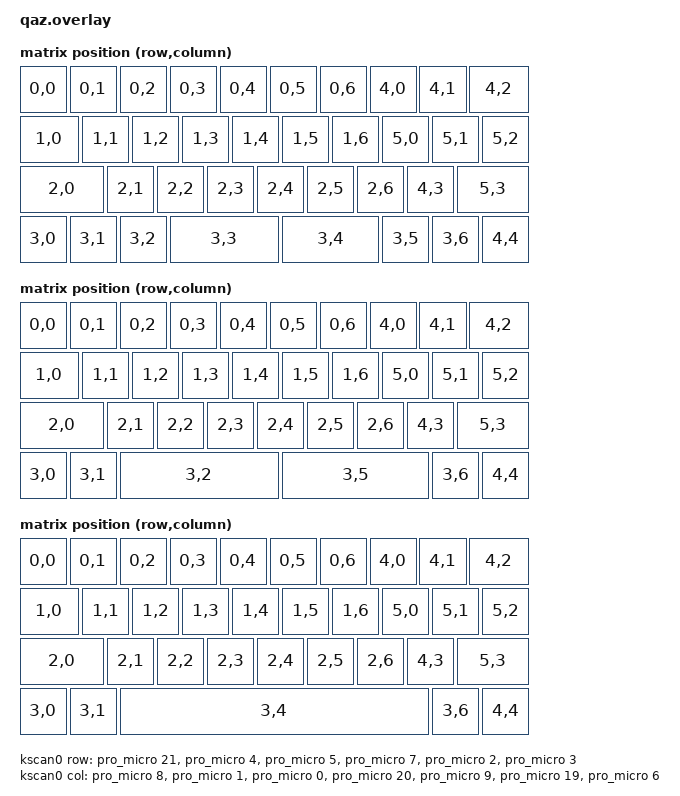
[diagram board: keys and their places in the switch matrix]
/*
 * Copyright (c) 2020 The ZMK Contributors
 *
 * SPDX-License-Identifier: MIT
 */

#include <dt-bindings/zmk/matrix_transform.h>
#include <physical_layouts.dtsi>

/ {
    chosen {
        zmk,kscan = &kscan0;
        zmk,physical-layout = &split_bar_layout;
    };

    split_bar_transform: split_bar_transform {
        compatible = "zmk,matrix-transform";
        columns = <7>;
        rows = <6>;
        map = <
    RC(0,0) RC(0,1) RC(0,2) RC(0,3) RC(0,4) RC(0,5) RC(0,6) RC(4,0) RC(4,1) RC(4,2)
    RC(1,0) RC(1,1) RC(1,2) RC(1,3) RC(1,4) RC(1,5) RC(1,6) RC(5,0) RC(5,1) RC(5,2)
    RC(2,0) RC(2,1) RC(2,2) RC(2,3) RC(2,4) RC(2,5) RC(2,6) RC(4,3) RC(5,3)
    RC(3,0) RC(3,1) RC(3,2) RC(3,3) RC(3,4) RC(3,5) RC(3,6) RC(4,4)
        >;
    };

    split_big_bar_transform: split_big_bar_transform {
        compatible = "zmk,matrix-transform";
        columns = <7>;
        rows = <6>;
        map = <
    RC(0,0) RC(0,1) RC(0,2) RC(0,3) RC(0,4) RC(0,5) RC(0,6) RC(4,0) RC(4,1) RC(4,2)
    RC(1,0) RC(1,1) RC(1,2) RC(1,3) RC(1,4) RC(1,5) RC(1,6) RC(5,0) RC(5,1) RC(5,2)
    RC(2,0) RC(2,1) RC(2,2) RC(2,3) RC(2,4) RC(2,5) RC(2,6) RC(4,3) RC(5,3)
    RC(3,0) RC(3,1) RC(3,2) RC(3,5) RC(3,6) RC(4,4)
        >;
    };

    big_bar_transform: big_bar_transform {
        compatible = "zmk,matrix-transform";
        columns = <7>;
        rows = <6>;
        map = <
    RC(0,0) RC(0,1) RC(0,2) RC(0,3) RC(0,4) RC(0,5) RC(0,6) RC(4,0) RC(4,1) RC(4,2)
    RC(1,0) RC(1,1) RC(1,2) RC(1,3) RC(1,4) RC(1,5) RC(1,6) RC(5,0) RC(5,1) RC(5,2)
    RC(2,0) RC(2,1) RC(2,2) RC(2,3) RC(2,4) RC(2,5) RC(2,6) RC(4,3) RC(5,3)
    RC(3,0) RC(3,1) RC(3,4) RC(3,6) RC(4,4)
        >;
    };


    kscan0: kscan_0 {
        compatible = "zmk,kscan-gpio-matrix";
        wakeup-source;
        diode-direction = "col2row";

        col-gpios
            = <&pro_micro 8 GPIO_ACTIVE_HIGH>
            , <&pro_micro 1 GPIO_ACTIVE_HIGH>
            , <&pro_micro 0 GPIO_ACTIVE_HIGH>
            , <&pro_micro 20 GPIO_ACTIVE_HIGH>
            , <&pro_micro 9 GPIO_ACTIVE_HIGH>
            , <&pro_micro 19 GPIO_ACTIVE_HIGH>
            , <&pro_micro 6 GPIO_ACTIVE_HIGH>
            ;

        row-gpios
            = <&pro_micro 21 (GPIO_ACTIVE_HIGH | GPIO_PULL_DOWN)>
            , <&pro_micro 4 (GPIO_ACTIVE_HIGH | GPIO_PULL_DOWN)>
            , <&pro_micro 5 (GPIO_ACTIVE_HIGH | GPIO_PULL_DOWN)>
            , <&pro_micro 7 (GPIO_ACTIVE_HIGH | GPIO_PULL_DOWN)>
            , <&pro_micro 2 (GPIO_ACTIVE_HIGH | GPIO_PULL_DOWN)>
            , <&pro_micro 3 (GPIO_ACTIVE_HIGH | GPIO_PULL_DOWN)>
            ;
    };

    split_big_bar_layout: split_big_bar_layout {
      compatible = "zmk,physical-layout";
      display-name = "Split Big Bar";
      transform = <&split_big_bar_transform>;
      kscan = <&kscan0>;
      keys //                      w   h    x    y     rot    rx    ry
          = <&key_physical_attrs 100 100    0    0       0     0     0>
          , <&key_physical_attrs 100 100  100    0       0     0     0>
          , <&key_physical_attrs 100 100  200    0       0     0     0>
          , <&key_physical_attrs 100 100  300    0       0     0     0>
          , <&key_physical_attrs 100 100  400    0       0     0     0>
          , <&key_physical_attrs 100 100  500    0       0     0     0>
          , <&key_physical_attrs 100 100  600    0       0     0     0>
          , <&key_physical_attrs 100 100  700    0       0     0     0>
          , <&key_physical_attrs 100 100  800    0       0     0     0>
          , <&key_physical_attrs 125 100  900    0       0     0     0>

          , <&key_physical_attrs 125 100    0  100       0     0     0>
          , <&key_physical_attrs 100 100  125  100       0     0     0>
          , <&key_physical_attrs 100 100  225  100       0     0     0>
          , <&key_physical_attrs 100 100  325  100       0     0     0>
          , <&key_physical_attrs 100 100  425  100       0     0     0>
          , <&key_physical_attrs 100 100  525  100       0     0     0>
          , <&key_physical_attrs 100 100  625  100       0     0     0>
          , <&key_physical_attrs 100 100  725  100       0     0     0>
          , <&key_physical_attrs 100 100  825  100       0     0     0>
          , <&key_physical_attrs 100 100  925  100       0     0     0>

          , <&key_physical_attrs 175 100    0  200       0     0     0>
          , <&key_physical_attrs 100 100  175  200       0     0     0>
          , <&key_physical_attrs 100 100  275  200       0     0     0>
          , <&key_physical_attrs 100 100  375  200       0     0     0>
          , <&key_physical_attrs 100 100  475  200       0     0     0>
          , <&key_physical_attrs 100 100  575  200       0     0     0>
          , <&key_physical_attrs 100 100  675  200       0     0     0>
          , <&key_physical_attrs 100 100  775  200       0     0     0>
          , <&key_physical_attrs 150 100  875  200       0     0     0>
            
          , <&key_physical_attrs 100 100    0  300       0     0     0>
          , <&key_physical_attrs 100 100  100  300       0     0     0>
          , <&key_physical_attrs 325 100  200  300       0     0     0>
          , <&key_physical_attrs 300 100  525  300       0     0     0>
          , <&key_physical_attrs 100 100  825  300       0     0     0>
          , <&key_physical_attrs 100 100  925  300       0     0     0>
          ;
    };

    split_bar_layout: split_bar_layout {
        compatible = "zmk,physical-layout";
        display-name = "Split Bar";
        transform = <&split_bar_transform>;
        kscan = <&kscan0>;
        keys //                      w   h    x    y     rot    rx    ry
            = <&key_physical_attrs 100 100    0    0       0     0     0>
            , <&key_physical_attrs 100 100  100    0       0     0     0>
            , <&key_physical_attrs 100 100  200    0       0     0     0>
            , <&key_physical_attrs 100 100  300    0       0     0     0>
            , <&key_physical_attrs 100 100  400    0       0     0     0>
            , <&key_physical_attrs 100 100  500    0       0     0     0>
            , <&key_physical_attrs 100 100  600    0       0     0     0>
            , <&key_physical_attrs 100 100  700    0       0     0     0>
            , <&key_physical_attrs 100 100  800    0       0     0     0>
            , <&key_physical_attrs 125 100  900    0       0     0     0>

            , <&key_physical_attrs 125 100    0  100       0     0     0>
            , <&key_physical_attrs 100 100  125  100       0     0     0>
            , <&key_physical_attrs 100 100  225  100       0     0     0>
            , <&key_physical_attrs 100 100  325  100       0     0     0>
            , <&key_physical_attrs 100 100  425  100       0     0     0>
            , <&key_physical_attrs 100 100  525  100       0     0     0>
            , <&key_physical_attrs 100 100  625  100       0     0     0>
            , <&key_physical_attrs 100 100  725  100       0     0     0>
            , <&key_physical_attrs 100 100  825  100       0     0     0>
            , <&key_physical_attrs 100 100  925  100       0     0     0>

            , <&key_physical_attrs 175 100    0  200       0     0     0>
            , <&key_physical_attrs 100 100  175  200       0     0     0>
            , <&key_physical_attrs 100 100  275  200       0     0     0>
            , <&key_physical_attrs 100 100  375  200       0     0     0>
            , <&key_physical_attrs 100 100  475  200       0     0     0>
            , <&key_physical_attrs 100 100  575  200       0     0     0>
            , <&key_physical_attrs 100 100  675  200       0     0     0>
            , <&key_physical_attrs 100 100  775  200       0     0     0>
            , <&key_physical_attrs 150 100  875  200       0     0     0>

            , <&key_physical_attrs 100 100    0  300       0     0     0>
            , <&key_physical_attrs 100 100  100  300       0     0     0>
            , <&key_physical_attrs 100 100  200  300       0     0     0>
            , <&key_physical_attrs 225 100  300  300       0     0     0>
            , <&key_physical_attrs 200 100  525  300       0     0     0>
            , <&key_physical_attrs 100 100  725  300       0     0     0>
            , <&key_physical_attrs 100 100  825  300       0     0     0>
            , <&key_physical_attrs 100 100  925  300       0     0     0>
            ;
    };

    big_bar_layout: big_bar_layout {
        compatible = "zmk,physical-layout";
        display-name = "Big Bar";
        transform = <&big_bar_transform>;
        kscan = <&kscan0>;
        keys //                      w   h    x    y     rot    rx    ry
            = <&key_physical_attrs 100 100    0    0       0     0     0>
            , <&key_physical_attrs 100 100  100    0       0     0     0>
            , <&key_physical_attrs 100 100  200    0       0     0     0>
            , <&key_physical_attrs 100 100  300    0       0     0     0>
            , <&key_physical_attrs 100 100  400    0       0     0     0>
            , <&key_physical_attrs 100 100  500    0       0     0     0>
            , <&key_physical_attrs 100 100  600    0       0     0     0>
            , <&key_physical_attrs 100 100  700    0       0     0     0>
            , <&key_physical_attrs 100 100  800    0       0     0     0>
            , <&key_physical_attrs 125 100  900    0       0     0     0>

            , <&key_physical_attrs 125 100    0  100       0     0     0>
            , <&key_physical_attrs 100 100  125  100       0     0     0>
            , <&key_physical_attrs 100 100  225  100       0     0     0>
            , <&key_physical_attrs 100 100  325  100       0     0     0>
            , <&key_physical_attrs 100 100  425  100       0     0     0>
            , <&key_physical_attrs 100 100  525  100       0     0     0>
            , <&key_physical_attrs 100 100  625  100       0     0     0>
            , <&key_physical_attrs 100 100  725  100       0     0     0>
            , <&key_physical_attrs 100 100  825  100       0     0     0>
            , <&key_physical_attrs 100 100  925  100       0     0     0>

            , <&key_physical_attrs 175 100    0  200       0     0     0>
            , <&key_physical_attrs 100 100  175  200       0     0     0>
            , <&key_physical_attrs 100 100  275  200       0     0     0>
            , <&key_physical_attrs 100 100  375  200       0     0     0>
            , <&key_physical_attrs 100 100  475  200       0     0     0>
            , <&key_physical_attrs 100 100  575  200       0     0     0>
            , <&key_physical_attrs 100 100  675  200       0     0     0>
            , <&key_physical_attrs 100 100  775  200       0     0     0>
            , <&key_physical_attrs 150 100  875  200       0     0     0>

            , <&key_physical_attrs 100 100    0  300       0     0     0>
            , <&key_physical_attrs 100 100  100  300       0     0     0>
            , <&key_physical_attrs 625 100  200  300       0     0     0>
            , <&key_physical_attrs 100 100  825  300       0     0     0>
            , <&key_physical_attrs 100 100  925  300       0     0     0>
            ;
    };

    position_map {
        compatible = "zmk,physical-layout-position-map";
        complete;

        split_bar_posmap {
            physical-layout = <&split_bar_layout>;
            positions
                = < 0  1  2  3  4  5  6  7  8  9>
                , <10 11 12 13 14 15 16 17 18 19>
                , <20 21 22 23 24 25 26 27    28>
                , <29 30 31   32    33  34 35 36>
                ;
        };

        split_big_bar_posmap {
            physical-layout = <&split_big_bar_layout>;
            positions
                = < 0  1  2  3  4  5  6  7  8  9>
                , <10 11 12 13 14 15 16 17 18 19>
                , <20 21 22 23 24 25 26 27    28>
                , <29 30 32   37   38   33 35 36>
                ;
        };

        big_bar_posmap {
            physical-layout = <&big_bar_layout>;
            positions
                = < 0  1  2  3  4  5  6  7  8  9>
                , <10 11 12 13 14 15 16 17 18 19>
                , <20 21 22 23 24 25 26 27    28>
                , <29 30 39   32    40  41 35 36>
                ;
        };
    };
};
